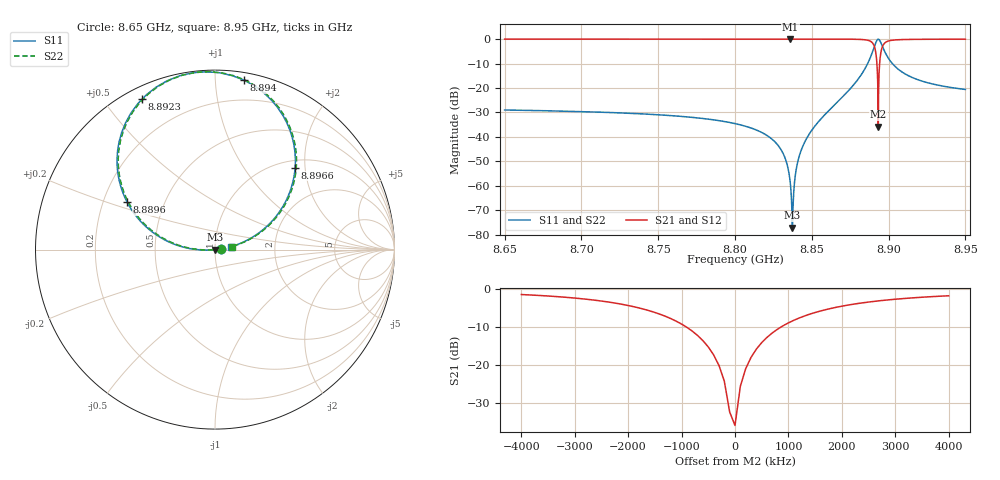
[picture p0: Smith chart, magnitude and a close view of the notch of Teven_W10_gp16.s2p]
! Sonnet Data File
! From: emgraph Version : 16.52
! From Project: transmon_trial
! Data is De-embedded
! Data File Written: 10/20/2017 09:13:07
!< HDATE 10/19/2017 20:03:37
!< MDATE 10/19/2017 20:10:25
!< PARAMS
!< Lj = 15.24
!< Gap = 16.0
!< Width = 10.0
!< Airgap = 6.0
!< Pwidth = 2000.0
!< END PARAMS
# GHZ S MA R 51.00000
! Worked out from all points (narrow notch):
!   3001 points, 8.65 GHz to 8.95 GHz, reference 51 ohm
!   highest |S21| = 0.00 dB at 8.836 GHz (marker M1); lowest = -35.9 dB at 8.8933 GHz (marker M2)
!   notch at M2: 35.9 dB deep, 678 kHz wide at half that depth
!   lowest |S11| = -77.1 dB at 8.8374 GHz (marker M3), VSWR 1.00, Z = 51 - j0.0142 ohm
!   |S11| at or under -10 dB: start of sweep to 8.8864 GHz; 8.9024 GHz to end of sweep
!   |S22| runs from -75.2 to -0.1 dB; largest |S21 - S12| = 0
!   S11 on the Smith chart (normalised r, x): 8.65 GHz: 1.07, +0.01; 8.8896 GHz: 0.30, +0.23; 8.8923 GHz: 0.05, +0.62; 8.894 GHz: 0.05, +1.18; 8.8966 GHz: 1.15, +1.77; 8.95 GHz: 1.20, +0.04
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8.65  0.03546 9.8  0.9994 -80.3  0.9994 -80.3  0.03546 9.5
!< P1 F=8.65 Eeff=(6.44686054 -2.9785e-5) Z0=(51.7994694 1.19079e-4) R=0.0 C=0.0
!< P2 F=8.65 Eeff=(6.44686054 -2.9785e-5) Z0=(51.7994694 1.19079e-4) R=0.0 C=0.0
8.7  0.03287 9.1  0.9995 -81.0  0.9995 -81.0  0.03287 8.9
8.75  0.02832 8.4  0.9996 -81.7  0.9996 -81.7  0.02832 8.2
8.8  0.0187 7.2  0.9998 -82.7  0.9998 -82.7  0.0187 7.4
8.8273  0.007149 5.6  1 -83.6  1 -83.6  0.00715 7.3
8.8333  0.00319 3.9  1 -83.9  1 -83.9  0.003191 8.8
8.836  0.00114 -0.7  1 -84.1  1 -84.1  0.001144 14.2
8.8374  0.0001391 -89.0  1 -84.2  1 -84.2  0.0001733 99.7
8.8418  0.004018 -172.1  1 -84.4  1 -84.4  0.00402 -177.3
8.85  0.01366 -174.1  0.9999 -85.0  0.9999 -85.0  0.01366 -176.2
8.8785  0.1296 178.4  0.9913 -92.0  0.9913 -92.0  0.1296 177.5
8.8861  0.3041 167.9  0.9518 -102.3  0.9518 -102.3  0.3041 167.1
8.8896  0.5554 151.7  0.8287 -118.4  0.8287 -118.4  0.5554 150.9
8.8911  0.7564 136.1  0.6477 -133.8  0.6477 -133.8  0.7564 135.3
8.8923  0.9314 116.0  0.347 -153.3  0.347 -153.3  0.9314 115.2
8.8933  0.9932 94.9  0.01606 -20.1  0.01606 -20.1  0.9932 94.1
8.894  0.9577 80.3  0.2659 -11.4  0.2659 -11.4  0.9577 79.5
8.8953  0.7973 59.0  0.597 -31.8  0.597 -31.8  0.7973 58.3
8.8966  0.6389 45.7  0.7661 -45.0  0.7661 -45.0  0.6389 44.9
8.9  0.4001 29.3  0.9155 -61.1  0.9155 -61.1  0.4001 28.6
8.9168  0.1569 14.5  0.9875 -75.9  0.9875 -75.9  0.1569 13.8
8.95  0.09331 10.4  0.9956 -79.9  0.9956 -79.9  0.09331 9.9
